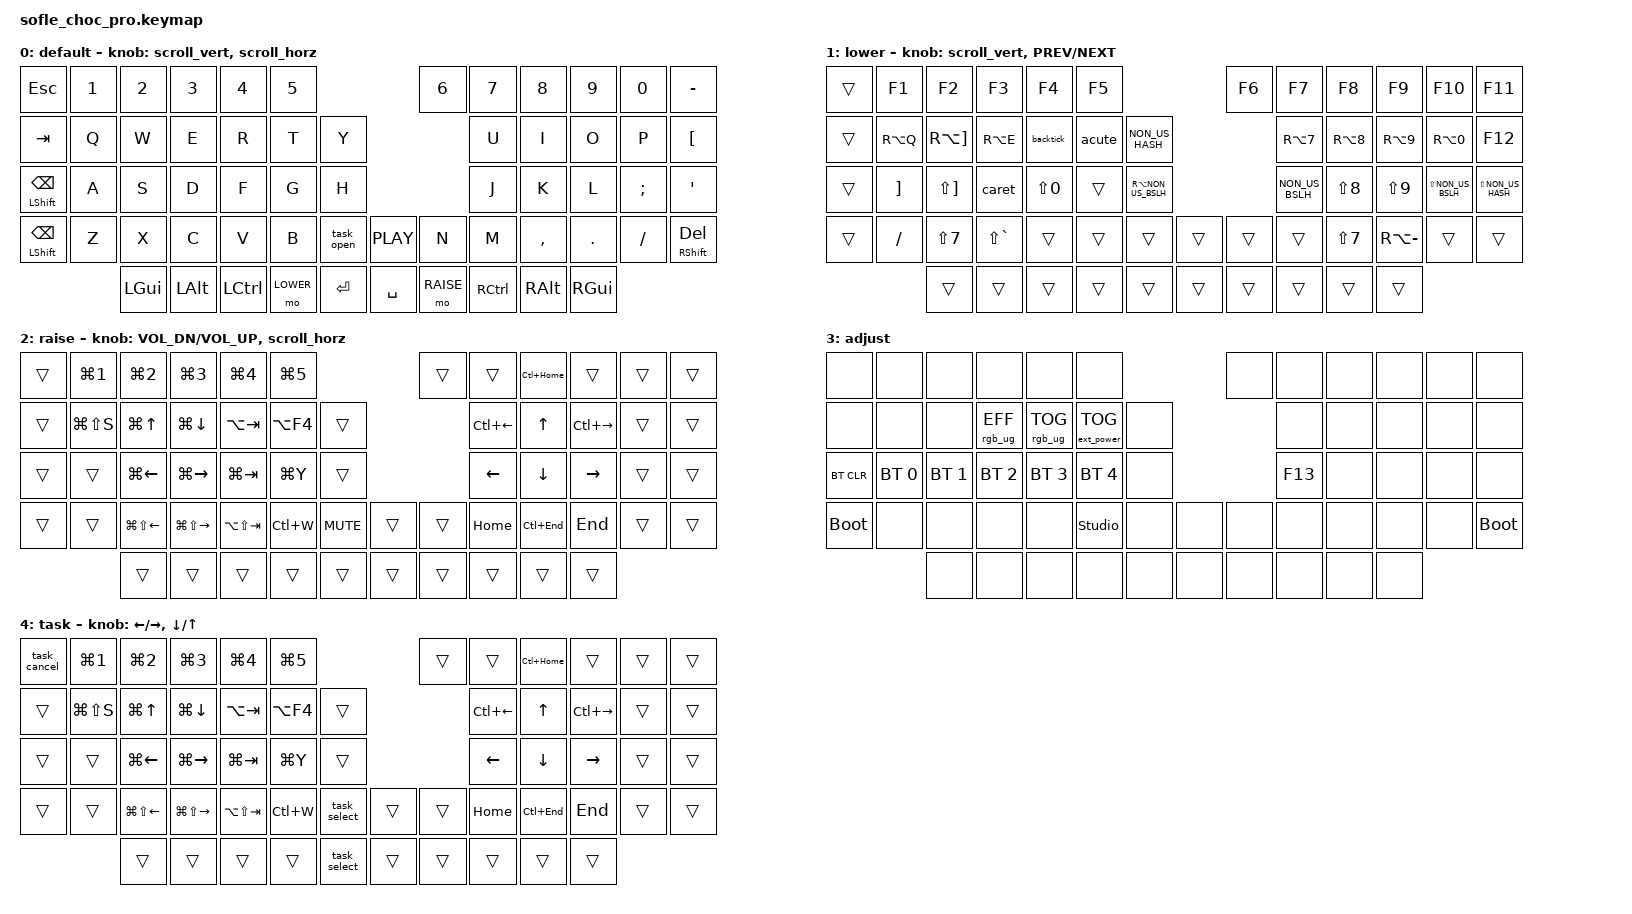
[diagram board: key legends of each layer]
/*
* Copyright (c) 2020 The ZMK Contributors
*
* SPDX-License-Identifier: MIT
*/

// Scroll speed in wheel steps per second. &msc emits every 16 ms, so 63/s gives
// exactly one wheel step per encoder detent (63 * 16 / 1000 = 1).
#define ZMK_POINTING_DEFAULT_SCRL_VAL 63

#include <behaviors.dtsi>
#include <dt-bindings/zmk/bt.h>
#include <dt-bindings/zmk/ext_power.h>
#include <dt-bindings/zmk/keys.h>
#include <dt-bindings/zmk/pointing.h>
#include <dt-bindings/zmk/rgb.h>

#define BASE 0
#define LOWER 1
#define RAISE 2
#define ADJUST 3
#define TASK 4

/ {
    behaviors {
        // Left encoder: scroll up/down
        scroll_vert: scroll_vert {
            compatible = "zmk,behavior-sensor-rotate";
            #sensor-binding-cells = <0>;
            bindings = <&msc SCRL_DOWN>, <&msc SCRL_UP>;
            tap-ms = <20>;
        };

        // Right encoder: scroll left/right
        scroll_horz: scroll_horz {
            compatible = "zmk,behavior-sensor-rotate";
            #sensor-binding-cells = <0>;
            bindings = <&msc SCRL_LEFT>, <&msc SCRL_RIGHT>;
            tap-ms = <20>;
        };
    };

    macros {
        // German dead keys: send the accent followed by space so the character appears immediately
        caret: caret {
            compatible = "zmk,behavior-macro";
            #binding-cells = <0>;
            bindings = <&kp GRAVE &kp SPACE>;
        };

        backtick: backtick {
            compatible = "zmk,behavior-macro";
            #binding-cells = <0>;
            bindings = <&kp LS(EQUAL) &kp SPACE>;
        };

        acute: acute {
            compatible = "zmk,behavior-macro";
            #binding-cells = <0>;
            bindings = <&kp EQUAL &kp SPACE>;
        };

        // Task view: first left encoder click opens it and enables the TASK layer,
        // where the encoders send arrow keys; second click (or Esc) closes it again
        task_open: task_open {
            compatible = "zmk,behavior-macro";
            #binding-cells = <0>;
            bindings = <&kp LG(TAB) &tog TASK>;
        };

        task_select: task_select {
            compatible = "zmk,behavior-macro";
            #binding-cells = <0>;
            bindings = <&kp RET &tog TASK>;
        };

        task_cancel: task_cancel {
            compatible = "zmk,behavior-macro";
            #binding-cells = <0>;
            bindings = <&kp ESC &tog TASK>;
        };
    };

    // Activate ADJUST layer by pressing raise and lower

    conditional_layers {
        compatible = "zmk,conditional-layers";

        adjust_layer {
            if-layers = <LOWER RAISE>;
            then-layer = <ADJUST>;
        };
    };

    keymap {
        compatible = "zmk,keymap";

        default_layer {
            display-name = "default";

            // ------------------------------------------------------------------------------------------------------------
            // |   `   |  1  |  2  |  3   |  4   |  5   |                   |  6   |  7    |  8    |  9   |   0   |   `   |
            // |  ESC  |  Q  |  W  |  E   |  R   |  T   |                   |  Y   |  U    |  I    |  O   |   P   | BKSPC |
            // |  TAB  |  A  |  S  |  D   |  F   |  G   |                   |  H   |  J    |  K    |  L   |   ;   |   '   |
            // | SHIFT |  Z  |  X  |  C   |  V   |  B   |  MUTE  |  | PLAY  |  N   |  M    |  ,    |  .   |   /   | SHIFT |
            //               | GUI | ALT  | CTRL | LOWER|  ENTER |  | SPACE | RAISE| CTRL  | ALT   | GUI  |

            bindings = <
&kp ESC         &kp N1  &kp N2    &kp N3    &kp N4     &kp N5                             &kp N6     &kp N7     &kp N8         &kp N9    &kp N0    &kp MINUS
&kp TAB         &kp Q   &kp W     &kp E     &kp R      &kp T      &kp Y                              &kp U      &kp I          &kp O     &kp P     &kp LBKT
&mt LSHFT BSPC  &kp A   &kp S     &kp D     &kp F      &kp G      &kp H                              &kp J      &kp K          &kp L     &kp SEMI  &kp SQT
&mt LSHFT BSPC  &kp Z   &kp X     &kp C     &kp V      &kp B      &task_open  &kp C_PLAY  &kp N      &kp M      &kp COMMA      &kp DOT   &kp FSLH  &mt RSHFT DEL
                        &kp LGUI  &kp LALT  &kp LCTRL  &mo LOWER  &kp RET     &kp SPACE   &mo RAISE  &kp RCTRL  &kp RIGHT_ALT  &kp RGUI
            >;

            sensor-bindings = <&scroll_vert &scroll_horz>;
        };

        lower_layer {
            display-name = "lower";

            // ------------------------------------------------------------------------------------------------------------
            // |       |  F1 |  F2 |  F3  |  F4  |  F5  |                   |  F6  |  F7   |  F8   |  F9  |  F10  |  F11  |
            // |   `   |  1  |  2  |  3   |  4   |  5   |                   |  6   |  7    |  8    |  9   |   0   |  F12  |
            // |       |  !  |  @  |  #   |  $   |  %   |                   |  ^   |  &    |  *    |  (   |   )   |   |   |
            // |       |  =  |  -  |  +   |  {   |  }   |        |  |       |  [   |  ]    |  ;    |  :   |   \   |       |
            //               |     |      |      |      |        |  |       |      |       |       |      |

            bindings = <
&trans  &kp F1     &kp F2        &kp F3     &kp F4      &kp F5                               &kp F6  &kp F7           &kp F8      &kp F9         &kp F10              &kp F11
&trans  &kp RA(Q)  &kp RA(RBKT)  &kp RA(E)  &backtick   &acute  &kp NON_US_HASH                      &kp RA(N7)       &kp RA(N8)  &kp RA(N9)     &kp RA(N0)           &kp F12
&trans  &kp RBKT   &kp LS(RBKT)  &caret     &kp LS(N0)  &trans  &kp RA(NON_US_BSLH)                  &kp NON_US_BSLH  &kp LS(N8)  &kp LS(N9)     &kp LS(NON_US_BSLH)  &kp LS(NON_US_HASH)
&trans  &kp FSLH   &kp LS(N7)    &kp LS(GRAVE)  &trans      &trans  &trans               &trans  &trans  &trans           &kp LS(N7)  &kp RA(MINUS)  &trans               &trans
                   &trans        &trans     &trans      &trans  &trans               &trans  &trans  &trans           &trans      &trans
            >;

            sensor-bindings = <&scroll_vert &inc_dec_kp C_PREV C_NEXT>;
        };

        raise_layer {
            display-name = "raise";

            // ------------------------------------------------------------------------------------------------------------
            // | BTCLR | BT1  | BT2  |  BT3  |  BT4  |  BT5 |                |      |      |       |      |       |       |
            // |       | INS  | PSCR | GUI   |       |      |                | PGUP |      |   ^   |      |       |       |
            // |       | ALT  | CTRL | SHIFT |       | CAPS |                | PGDN |   <- |   v   |  ->  |  DEL  | BKSPC |
            // |       | UNDO | CUT  | COPY  | PASTE |      |      |  |      |      |      |       |      |       |       |
            //                |      |       |       |      |      |  |      |      |      |       |      |

            bindings = <
&trans  &kp LG(N1)      &kp LG(N2)         &kp LG(N3)          &kp LG(N4)        &kp LG(N5)                       &trans  &trans        &kp LC(HOME)  &trans         &trans  &trans
&trans  &kp LG(LS(S))   &kp LG(UP)         &kp LG(DOWN)        &kp LA(TAB)       &kp LA(F4)  &trans                   &kp LC(LEFT)  &kp UP        &kp LC(RIGHT)  &trans  &trans
&trans  &trans          &kp LG(LEFT)       &kp LG(RIGHT)       &kp LG(TAB)       &kp LG(Y)   &trans                   &kp LEFT      &kp DOWN      &kp RIGHT      &trans  &trans
&trans  &trans          &kp LG(LS(LEFT))   &kp LG(LS(RIGHT))   &kp LA(LS(TAB))   &kp LC(W)   &kp C_MUTE  &trans  &trans   &kp HOME      &kp LC(END)   &kp END        &trans  &trans
                    &trans     &trans      &trans       &trans  &trans  &trans  &trans  &trans        &trans        &trans
            >;

            sensor-bindings = <&inc_dec_kp C_VOL_DN C_VOL_UP &scroll_horz>;
        };

        adjust_layer {
            // ----------------------------------------------------------------------------------------------------------------------------
            // | BTCLR  |  BT1    |  BT2    |   BT3   |   BT4   |   BT5   |                  |      |      |       |      |       |       |
            // | EXTPWR | RGB_HUD | RGB_HUI | RGB_SAD | RGB_SAI | RGB_EFF |                  |      |      |       |      |       |       |
            // |        | RGB_BRD | RGB_BRI |         |         |         |                  |      |      |       |      |       |       |
            // |        |         |         |         |         |         | RGB_TOG | |      |      |      |       |      |       |       |
            //                    |         |         |         |         |         | |      |      |      |       |      |

            display-name = "adjust";
            bindings = <
&none       &none         &none         &none            &none            &none                            &none  &none  &none  &none  &none  &none
&none       &none         &none         &rgb_ug RGB_EFF  &rgb_ug RGB_TOG  &ext_power EP_TOG  &none                &none  &none  &none  &none  &none
&bt BT_CLR  &bt BT_SEL 0  &bt BT_SEL 1  &bt BT_SEL 2     &bt BT_SEL 3     &bt BT_SEL 4       &none                &kp F13  &none  &none  &none  &none
&bootloader  &none         &none         &none            &none            &studio_unlock     &none  &none  &none  &none  &none  &none  &none  &bootloader
                          &none         &none            &none            &none              &none  &none  &none  &none  &none  &none
            >;
        };

        task_layer {
            display-name = "task";

            // Active while the Windows task view is open (see task_open macro).
            // Copy of the raise layer; left encoder: left/right, right encoder: down/up,
            // left encoder click or Enter: select, Esc: cancel

            bindings = <
&task_cancel  &kp LG(N1)      &kp LG(N2)         &kp LG(N3)          &kp LG(N4)        &kp LG(N5)                       &trans  &trans        &kp LC(HOME)  &trans         &trans  &trans
&trans  &kp LG(LS(S))   &kp LG(UP)         &kp LG(DOWN)        &kp LA(TAB)       &kp LA(F4)  &trans                   &kp LC(LEFT)  &kp UP        &kp LC(RIGHT)  &trans  &trans
&trans  &trans          &kp LG(LEFT)       &kp LG(RIGHT)       &kp LG(TAB)       &kp LG(Y)   &trans                   &kp LEFT      &kp DOWN      &kp RIGHT      &trans  &trans
&trans  &trans          &kp LG(LS(LEFT))   &kp LG(LS(RIGHT))   &kp LA(LS(TAB))   &kp LC(W)   &task_select  &trans  &trans   &kp HOME      &kp LC(END)   &kp END        &trans  &trans
                    &trans     &trans      &trans       &trans  &task_select  &trans  &trans  &trans        &trans        &trans
            >;

            sensor-bindings = <&inc_dec_kp LEFT RIGHT &inc_dec_kp DOWN UP>;
        };
    };
};
